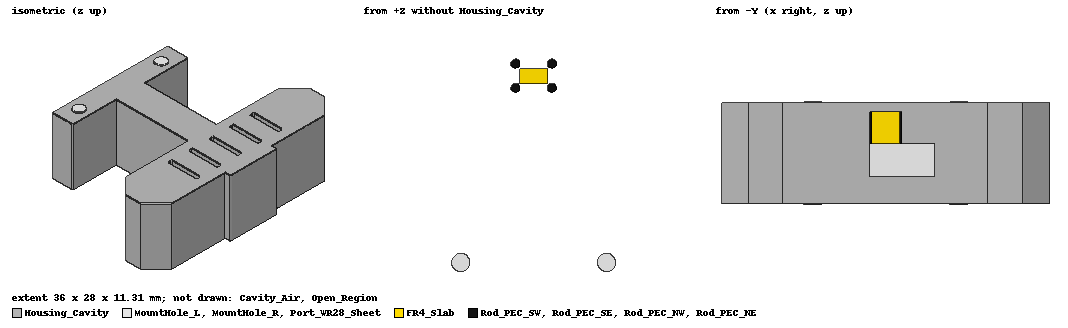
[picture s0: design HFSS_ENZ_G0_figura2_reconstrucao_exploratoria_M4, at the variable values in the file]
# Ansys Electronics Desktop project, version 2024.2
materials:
  vacuum: permittivity=1
  pec: conductivity=1e+30
  FR4_epoxy: permittivity=4.4 dielectric_loss_tangent=0.02
  air: permittivity=1.0006 permeability=1.0000004

design HFSS_ENZ_G0_figura2_reconstrucao_exploratoria_M4 (HFSS, HFSS Modal Network, model units mm)
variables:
  frequencia_adaptativa = 25.87GHz
  frequencia_sweep_inicio = 25GHz
  frequencia_sweep_fim = 27GHz
  cavidade_area_plana = 108mm2
  cavidade_comprimento_interno_exploratorio = 18mm
  cavidade_largura_interna_exploratoria = 6mm
  corpo_comprimento_externo = 36mm
  corpo_largura_externa_exploratoria = 9mm
  corpo_altura_externa = 11.11mm
  altura_interna_wr28 = 7.11mm
  largura_interna_wr28 = 3.56mm
  espessura_parede_lateral = 1mm
  espessura_tampa = 1mm
  espessura_fundo_exploratoria = 3mm
  flange_largura = 22.5mm
  flange_comprimento_exploratorio = 4mm
  comprimento_total_eixo_y = 27mm
  plano_porta_y = -18mm
  chanfro = 3mm
  degrau_largura = 9mm
  degrau_altura = 1mm
  ranhura_comprimento = 5.66mm
  ranhura_largura = 0.8mm
  ranhura_passo_exploratorio = 4mm
  fr4_dimensao_x = 3mm
  fr4_dimensao_y = 1.65mm
  fr4_epsilon_r_exploratorio = 4.4
  fr4_tan_delta_exploratorio = 0.02
  pino_diametro = 1mm
  pino_offset_x_exploratorio = 2mm
  pino_offset_y_exploratorio = 1.325mm
  parafuso_diametro_exploratorio = 2mm
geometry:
  Housing_Cavity [pec] = polyline(z=0mm, xy in mm: (-18, 3) (-15, 0) (15, 0) (18, 3) (18, 6) (15, 9) (4.5, 9) (4.5, 10) (-4.5, 10) (-4.5, 9) (-15, 9) (-18, 6) (-18, 3), closed, covered)
  Housing_Cavity.sweep_along_vector((0mm, 0mm, corpo_altura_externa))
  Housing_Feed = box(corner=(-2.78mm, plano_porta_y, 0mm), size=(5.56mm, 19.5mm, corpo_altura_externa))
  Housing_Flange = box(corner=(-11.25mm, plano_porta_y, 0mm), size=(flange_largura, flange_comprimento_exploratorio, corpo_altura_externa))
  Cavity_Air [vacuum] = box(corner=(-9mm, 1.5mm, espessura_fundo_exploratoria), size=(cavidade_comprimento_interno_exploratorio, cavidade_largura_interna_exploratoria, altura_interna_wr28))
  Feed_Air = box(corner=(-1.78mm, plano_porta_y, espessura_fundo_exploratoria), size=(largura_interna_wr28, 19.5mm, altura_interna_wr28))
  Port_WR28_Sheet = rectangle(corner=(-1.78mm, plano_porta_y, espessura_fundo_exploratoria), z_size=largura_interna_wr28, x_size=altura_interna_wr28)
  Slot_Air_1 = box(corner=(-8.4mm, 1.67mm, 10.11mm), size=(ranhura_largura, ranhura_comprimento, 1.2mm))
  Slot_Air_2 = box(corner=(-4.4mm, 1.67mm, 10.11mm), size=(ranhura_largura, ranhura_comprimento, 1.2mm))
  Slot_Air_3 = box(corner=(-0.4mm, 1.67mm, 10.11mm), size=(ranhura_largura, ranhura_comprimento, 1.2mm))
  Slot_Air_4 = box(corner=(3.6mm, 1.67mm, 10.11mm), size=(ranhura_largura, ranhura_comprimento, 1.2mm))
  Slot_Air_5 = box(corner=(7.6mm, 1.67mm, 10.11mm), size=(ranhura_largura, ranhura_comprimento, 1.2mm))
  FR4_Slab [FR4_epoxy] = box(corner=(-1.5mm, 3.675mm, espessura_fundo_exploratoria), size=(fr4_dimensao_x, fr4_dimensao_y, altura_interna_wr28))
  Rod_PEC_NW [pec] = cylinder(axis=Z, base_centre=(-2mm, 3.175mm, 3mm), radius=0.5mm, height=altura_interna_wr28)
  Rod_PEC_NE [pec] = cylinder(axis=Z, base_centre=(2mm, 3.175mm, 3mm), radius=0.5mm, height=altura_interna_wr28)
  Rod_PEC_SW [pec] = cylinder(axis=Z, base_centre=(-2mm, 5.825mm, 3mm), radius=0.5mm, height=altura_interna_wr28)
  Rod_PEC_SE [pec] = cylinder(axis=Z, base_centre=(2mm, 5.825mm, 3mm), radius=0.5mm, height=altura_interna_wr28)
  MountHole_L [vacuum] = cylinder(axis=Z, base_centre=(-8mm, -16mm, -0.1mm), radius=1mm, height=11.31mm)
  MountHole_R [vacuum] = cylinder(axis=Z, base_centre=(8mm, -16mm, -0.1mm), radius=1mm, height=11.31mm)
  Open_Region [air] = region(percentage_offset: +X=50, -X=50, +Y=80, -Y=0, +Z=120, -Z=120)
  Housing_Cavity.unite(Housing_Feed, Housing_Flange)
  Cavity_Air_1 = Cavity_Air.copy()
  Feed_Air_1 = Feed_Air.copy()
  Housing_Cavity.subtract(Cavity_Air_1, Feed_Air_1)
  Slot_Air_1_1 = Slot_Air_1.copy()
  Slot_Air_2_1 = Slot_Air_2.copy()
  Slot_Air_3_1 = Slot_Air_3.copy()
  Slot_Air_4_1 = Slot_Air_4.copy()
  Slot_Air_5_1 = Slot_Air_5.copy()
  Housing_Cavity.subtract(Slot_Air_1_1, Slot_Air_2_1, Slot_Air_3_1, Slot_Air_4_1, Slot_Air_5_1)
  MountHole_L_1 = MountHole_L.copy()
  MountHole_R_1 = MountHole_R.copy()
  Housing_Cavity.subtract(MountHole_L_1, MountHole_R_1)
  Cavity_Air.unite(Feed_Air, Slot_Air_1..Slot_Air_5)
  FR4_Slab_1 = FR4_Slab.copy()
  Rod_PEC_NW_1 = Rod_PEC_NW.copy()
  Rod_PEC_NE_1 = Rod_PEC_NE.copy()
  Rod_PEC_SW_1 = Rod_PEC_SW.copy()
  Rod_PEC_SE_1 = Rod_PEC_SE.copy()
  Cavity_Air.subtract(FR4_Slab_1, Rod_PEC_NW_1, Rod_PEC_NE_1, Rod_PEC_SW_1, Rod_PEC_SE_1)
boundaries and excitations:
  Radiation_Open_5Faces: Radiation Faces=Open_Region.face(+z, -x, +y, -z, +x)
  P1_WR28_TE10: Wave Port Objects=Port_WR28_Sheet WavePortType=Modal NumModes=1 Modes{Mode1{CharImp=Zpi RenormImp=50ohm}}
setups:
  Auto1: HfssDriven Frequency=5GHz MaxDeltaS=0.02 MaximumPasses=6 MinimumPasses=1 MinimumConvergedPasses=1 PercentRefinement=30 BasisOrder=1 PortAccuracy=2 DrivenSolverType="Direct Solver"
  Setup_Driven_25p87_HIPOTESE: HfssDriven Frequency=25.87GHz MaxDeltaS=0.02 MaximumPasses=15 MinimumPasses=2 MinimumConvergedPasses=2 PercentRefinement=20 BasisOrder=1 PortAccuracy=2 DrivenSolverType="Direct Solver"
    sweep Sweep_25_27GHz: 25GHz to 27GHz, 201 points; Type=Interpolating SaveFields InterpTolerance=0.5 InterpMaxSolns=80 InterpUsePortImped=false PassivityErrorTolerance=0.0001
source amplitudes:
  P1_WR28_TE10:1: 1W 0deg
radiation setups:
  FF_Sphere_2deg: Infinite Sphere Theta=-180deg..180deg step 2deg Phi=-180deg..180deg step 2deg
